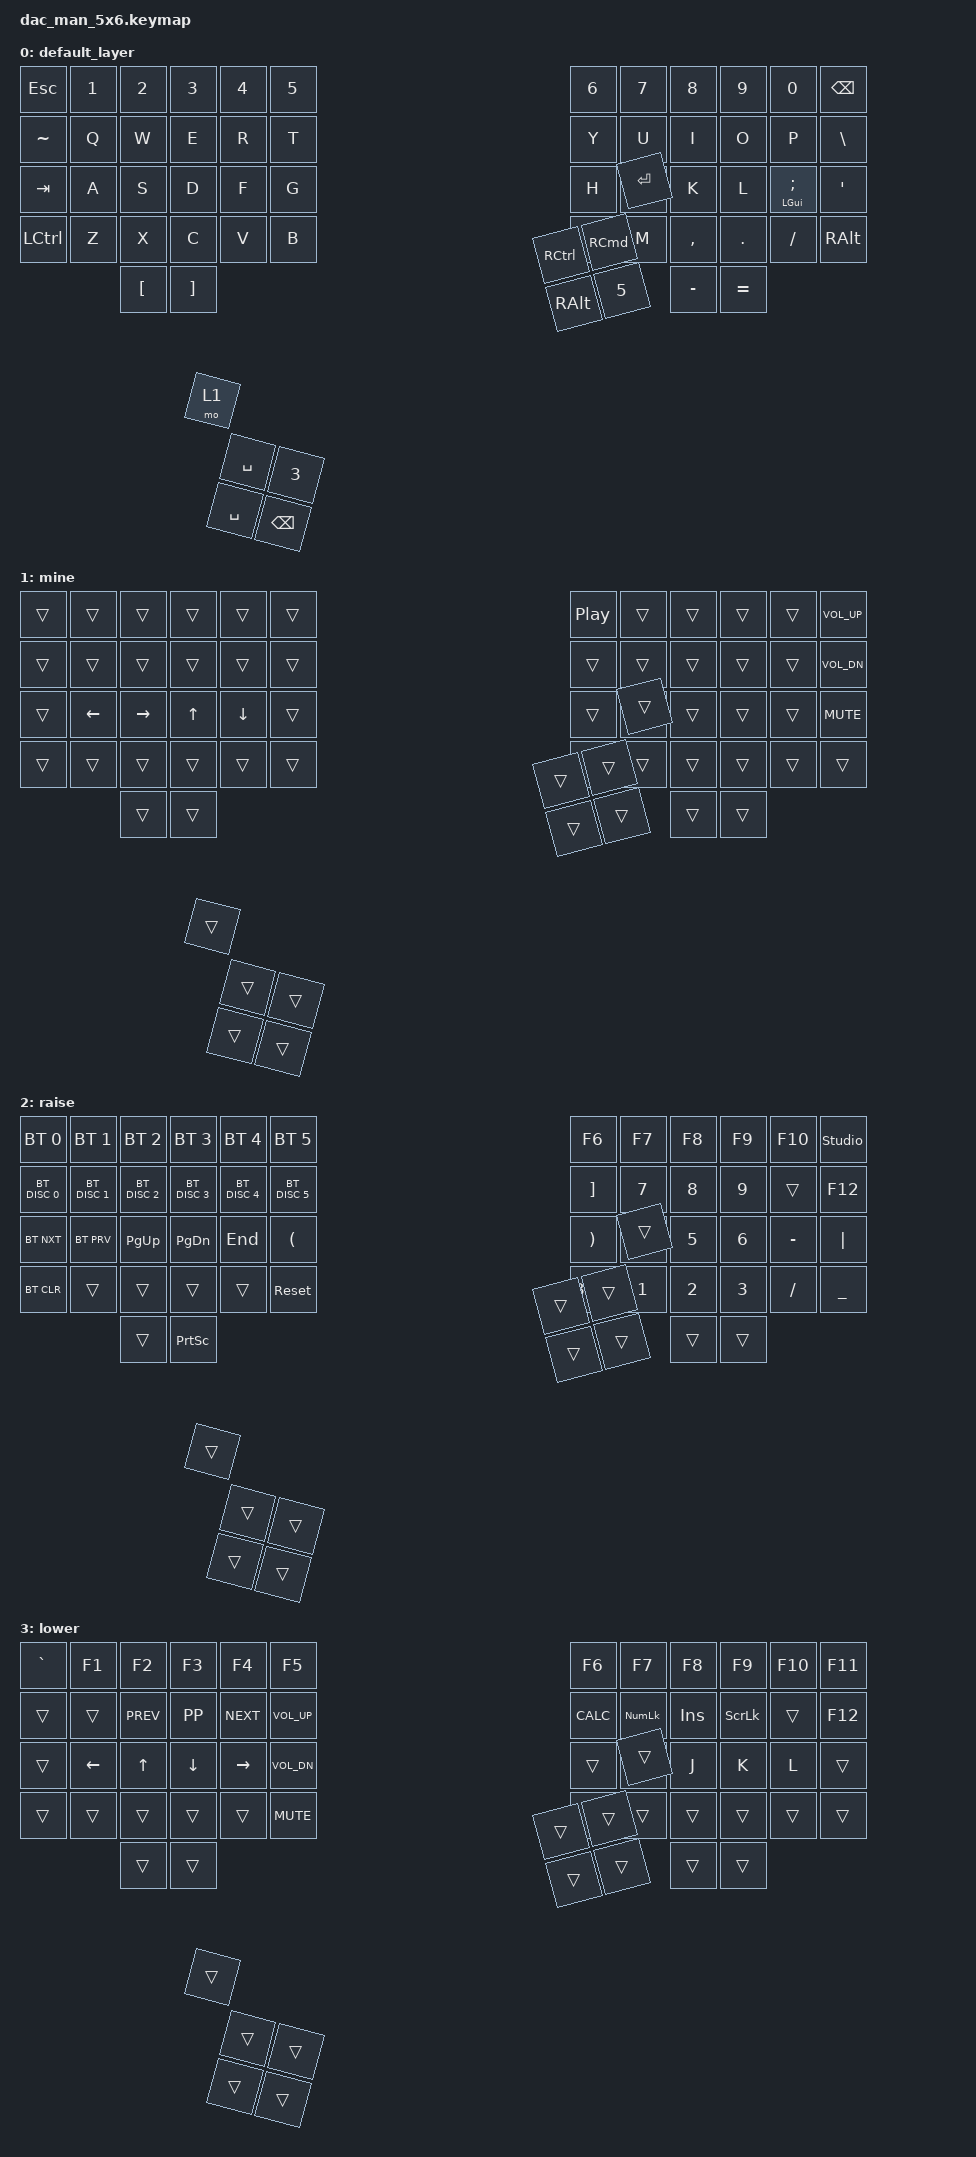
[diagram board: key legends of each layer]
#include <behaviors.dtsi>
#include <dt-bindings/zmk/bt.h>
#include <dt-bindings/zmk/keys.h>

#define DEFAULT 0
#define RAISE   1
#define LOWER   2

/ {
    keymap {
        compatible = "zmk,keymap";

        default_layer {
            // Commented layout is not actual layout.
            // -------------------------------------------------------------------------------------------------------------------------
            // |   ESC   |    1    |    2    |    3    |    4    |    5    |                   |    6    |    7    |    8    |    9    |    0    |  BSPC   |
            // |   TAB   |    Q    |    W    |    E    |    R    |    T    |                   |    Y    |    U    |    I    |    O    |    P    |    \    |
            // |  LALT   |    A    |    S    |    D    |    F    |    G    |                   |    H    |    J    |    K    |    L    |    ;    |    '    |
            // |  LCTRL  |    Z    |    X    |    C    |    V    |    B    |                   |    N    |    M    |    ,    |    .    |    /    |  RALT   |
            //                     |    [    |    ]    |                                                           |    -    |    =    |
            //                               | MO lay 1| SPACE   |                   | ENTER   | MO lay 2|
            //                                         |   TAB   |   HOME  |   END   |   DEL   |
            //                                         |  Raise  |    ~    |   GUI   |  Lower  |

            bindings = <
&kp ESC    &kp N1  &kp N2    &kp N3             &kp N4  &kp N5                                &kp N6    &kp N7     &kp N8     &kp N9     &kp N0         &kp BSPC
&kp TILDE  &kp Q   &kp W     &kp E              &kp R   &kp T                                 &kp Y     &kp U      &kp I      &kp O      &kp P          &kp BSLH
&kp TAB    &kp A   &kp S     &kp D              &kp F   &kp G                                 &kp H     &kp J      &kp K      &kp L      &mt LGUI SEMI  &kp SQT
&kp LCTRL  &kp Z   &kp X     &kp C              &kp V   &kp B                                 &kp N     &kp M      &kp COMMA  &kp DOT    &kp FSLH       &kp RALT
                   &kp LBKT  &kp RIGHT_BRACKET                                                                     &kp MINUS  &kp EQUAL
                                                &mo 1                                                   &kp ENTER
                                                        &kp SPACE   &kp N3         &kp RCTRL  &kp RCMD
                                                        &kp SPACE  &kp BACKSPACE  &kp RALT   &kp N5
            >;
        };

        mine {
            bindings = <
&trans  &trans          &trans     &trans        &trans          &trans                  &kp C_PLAY_PAUSE  &trans  &trans  &trans  &trans  &kp C_VOLUME_UP
&trans  &trans          &trans     &trans        &trans          &trans                  &trans            &trans  &trans  &trans  &trans  &kp C_VOL_DN
&trans  &kp LEFT_ARROW  &kp RIGHT  &kp UP_ARROW  &kp DOWN_ARROW  &trans                  &trans            &trans  &trans  &trans  &trans  &kp K_MUTE
&trans  &trans          &trans     &trans        &trans          &trans                  &trans            &trans  &trans  &trans  &trans  &trans
                        &trans     &trans                                                                          &trans  &trans
                                                 &trans                                                    &trans
                                                                 &trans  &trans  &trans  &trans
                                                                 &trans  &trans  &trans  &trans
            >;
        };

        raise {
            // commented layout is not actual layout.
            // -------------------------------------------------------------------------------------------------------------------------
            // |   esc   |    1    |    2    |    3    |    4    |    5    |                   |    6    |    7    |    8    |    9    |    0    |  bspc   |
            // |   tab   |    q    |    w    |    e    |    r    |    t    |                   |    y    |    u    |    i    |    o    |    p    |    \    |
            // |  lalt   |    a    |    s    |    d    |    f    |    g    |                   |    h    |    j    |    k    |    l    |    ;    |    '    |
            // |  lctrl  |    z    |    x    |    c    |    v    |    b    |                   |    n    |    m    |    ,    |    .    |    /    |  ralt   |
            //                     |    [    |    ]    |                                                           |    -    |    =    |
            //                               | mo lay 1| space   |                   | enter   | mo lay 2|
            //                                         |   tab   |   home  |   end   |   del   |
            //                                         |  raise  |    ~    |   gui   |  lower  |

            bindings = <
&bt BT_SEL 0   &bt BT_SEL 1   &bt BT_SEL 2   &bt BT_SEL 3   &bt BT_SEL 4   &bt BT_SEL 5                   &kp F6       &kp F7  &kp F8  &kp F9  &kp F10    &studio_unlock
&bt BT_DISC 0  &bt BT_DISC 1  &bt BT_DISC 2  &bt BT_DISC 3  &bt BT_DISC 4  &bt BT_DISC 5                  &kp RBKT     &kp 7   &kp 8   &kp 9   &trans     &kp F12
&bt BT_NXT     &bt BT_PRV     &kp PG_UP      &kp PG_DN      &kp END        &kp LPAR                       &kp RPAR     &kp 4   &kp 5   &kp 6   &kp MINUS  &kp PIPE
&bt BT_CLR     &trans         &trans         &trans         &trans         &sys_reset                     &bootloader  &kp 1   &kp 2   &kp 3   &kp FSLH   &kp UNDER
                              &trans         &kp PSCRN                                                                         &trans  &trans
                                                            &trans                                                     &trans
                                                                           &trans  &trans            &trans  &trans
                                                                           &trans  &trans            &trans  &trans
            >;
        };

        lower {
            // commented layout is not actual layout.
            // -------------------------------------------------------------------------------------------------------------------------
            // |   esc   |    1    |    2    |    3    |    4    |    5    |                   |    6    |    7    |    8    |    9    |    0    |  bspc   |
            // |   tab   |    q    |    w    |    e    |    r    |    t    |                   |    y    |    u    |    i    |    o    |    p    |    \    |
            // |  lalt   |    a    |    s    |    d    |    f    |    g    |                   |    h    |    j    |    k    |    l    |    ;    |    '    |
            // |  lctrl  |    z    |    x    |    c    |    v    |    b    |                   |    n    |    m    |    ,    |    .    |    /    |  ralt   |
            //                     |    [    |    ]    |                                                           |    -    |    =    |
            //                               | mo lay 1| space   |                   | enter   | mo lay 2|
            //                                         |   tab   |   home  |   end   |   del   |
            //                                         |  raise  |    ~    |   gui   |  lower  |

            bindings = <
&kp GRAVE  &kp F1    &kp F2      &kp F3    &kp F4      &kp F5                        &kp F6      &kp F7      &kp F8   &kp F9    &kp F10  &kp F11
&trans     &trans    &kp K_PREV  &kp K_PP  &kp K_NEXT  &kp C_VOL_UP                  &kp K_CALC  &kp KP_NUM  &kp INS  &kp SLCK  &trans   &kp F12
&trans     &kp LEFT  &kp UP      &kp DOWN  &kp RIGHT   &kp C_VOL_DN                  &trans      &kp H       &kp J    &kp K     &kp L    &trans
&trans     &trans    &trans      &trans    &trans      &kp C_MUTE                    &trans      &trans      &trans   &trans    &trans   &trans
                     &trans      &trans                                                                      &trans   &trans
                                           &trans                                                &trans
                                                       &trans        &trans  &trans  &trans
                                                       &trans        &trans  &trans  &trans
            >;
        };
    };
};
